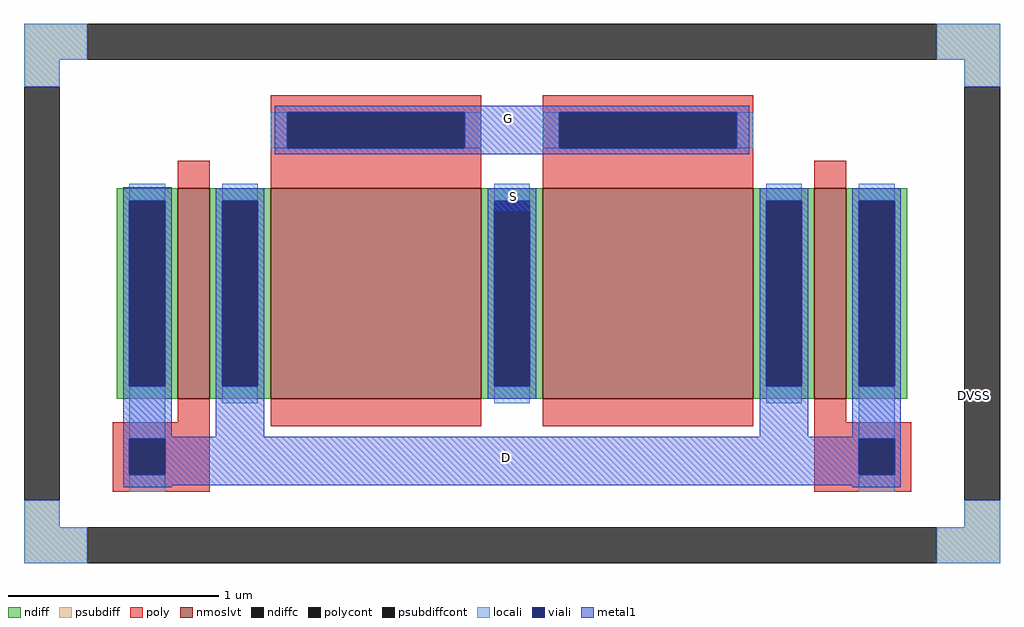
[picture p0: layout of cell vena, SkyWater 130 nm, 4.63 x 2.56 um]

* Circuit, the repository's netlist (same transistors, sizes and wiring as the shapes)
** sch_path: /home/gilang_fajrul/chipalooza/sky130_gff_ip__bgr_1.2v/magic/vena.sch
.subckt vena S DVSS G D
*.PININFO S:B G:B D:B DVSS:B
XM4 D G S DVSS sky130_fd_pr__nfet_01v8_lvt L=1 W=1 nf=1 m=2
XM1 D D D DVSS sky130_fd_pr__nfet_01v8_lvt L=0.15 W=1 nf=1 m=2
.ends
.end

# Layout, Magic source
magic
tech sky130A
magscale 1 2
<< psubdiff >>
rect -176 410 -116 444
rect 690 410 750 444
rect -176 384 -142 410
rect 716 384 750 410
rect -176 -34 -142 -8
rect 716 -34 750 -8
rect -176 -68 -116 -34
rect 690 -68 750 -34
<< psubdiffcont >>
rect -116 410 690 444
rect -176 -8 -142 384
rect 716 -8 750 384
rect -116 -68 690 -34
<< poly >>
rect -30 288 0 289
rect -30 66 0 88
rect -92 50 0 66
rect -92 16 -76 50
rect -42 16 0 50
rect -92 0 0 16
rect 574 50 666 66
rect 574 16 616 50
rect 650 16 666 50
rect 574 0 666 16
<< polycont >>
rect -76 16 -42 50
rect 616 16 650 50
<< locali >>
rect -176 410 -116 444
rect 690 410 750 444
rect -176 384 -142 410
rect 716 384 750 410
rect -76 288 -42 289
rect -76 50 -42 88
rect -76 0 -42 16
rect 616 50 650 99
rect 616 0 650 16
rect -176 -34 -142 -8
rect 716 -34 750 -8
rect -176 -68 -116 -34
rect 690 -68 750 -34
<< viali >>
rect -76 16 -42 50
rect 616 16 650 50
<< metal1 >>
rect 254 320 320 366
rect -82 288 -36 289
rect 264 266 310 288
rect -82 52 -36 88
rect 6 52 52 90
rect 522 52 568 95
rect 610 52 656 97
rect -82 50 656 52
rect -82 16 -76 50
rect -42 16 616 50
rect 650 16 656 50
rect -82 6 656 16
rect -82 4 -36 6
rect 610 4 656 6
use sky130_fd_pr__nfet_01v8_lvt_SJFSNB  sky130_fd_pr__nfet_01v8_lvt_SJFSNB_1
transform -1 0 -15 0 -1 188
box -73 -126 73 126
use sky130_fd_pr__nfet_01v8_lvt_SJFSNB  sky130_fd_pr__nfet_01v8_lvt_SJFSNB_2
transform 1 0 589 0 1 188
box -73 -126 73 126
use sky130_fd_pr__nfet_01v8_lvt_U8VHVM  sky130_fd_pr__nfet_01v8_lvt_U8VHVM_0
transform 1 0 287 0 1 219
box -287 -157 287 157
<< labels >>
flabel metal1 284 354 284 354 0 FreeSans 160 0 0 0 G
port 0 nsew
flabel metal1 282 32 282 32 0 FreeSans 160 0 0 0 D
port 1 nsew
flabel metal1 288 280 288 280 0 FreeSans 160 0 0 0 S
port 2 nsew
flabel psubdiffcont 726 91 726 91 0 FreeSans 160 0 0 0 DVSS
port 3 nsew
<< end >>

# cell sky130_fd_pr__nfet_01v8_lvt_SJFSNB: kit device sky130_fd_pr__nfet_01v8_lvt, w 1 l 0.15 m 1 nf 1 diffcov 100 polycov 100 guard 0 glc 1 grc 1 gtc 1 gbc 1 tbcov 100 rlcov 100 topc 0 botc 0 poverlap 0 doverlap 1 lmin 0.15 wmin 0.42 compatible {sky130_fd_pr__nfet_01v8 sky130_fd_pr__nfet_01v8_lvt sky130_fd_bs_flash__special_sonosfet_star sky130_fd_pr__nfet_g5v0d10v5 sky130_fd_pr__nfet_05v0_nvt sky130_fd_pr__nfet_03v3_nvt} full_metal 1 viasrc 100 viadrn 100 viagate 100 viagb 0 viagr 0 viagl 0 viagt 0

# cell sky130_fd_pr__nfet_01v8_lvt_U8VHVM: kit device sky130_fd_pr__nfet_01v8_lvt, w 1 l 1 m 1 nf 2 diffcov 100 polycov 100 guard 0 glc 1 grc 1 gtc 1 gbc 1 tbcov 100 rlcov 100 topc 1 botc 0 poverlap 0 doverlap 1 lmin 0.15 wmin 0.42 compatible {sky130_fd_pr__nfet_01v8 sky130_fd_pr__nfet_01v8_lvt sky130_fd_bs_flash__special_sonosfet_star sky130_fd_pr__nfet_g5v0d10v5 sky130_fd_pr__nfet_05v0_nvt sky130_fd_pr__nfet_03v3_nvt} full_metal 1 viasrc 100 viadrn 100 viagate 100 viagb 0 viagr 0 viagl 0 viagt 0
